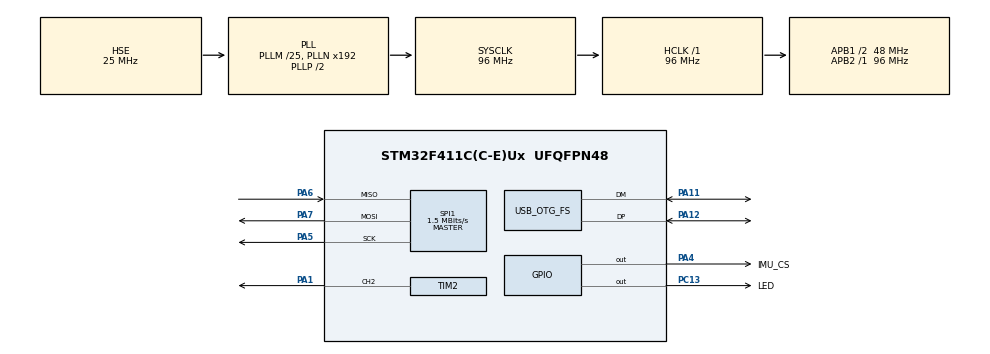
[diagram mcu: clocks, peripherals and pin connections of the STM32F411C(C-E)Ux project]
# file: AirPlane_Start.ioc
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Mcu.Family=STM32F4
Mcu.Name=STM32F411C(C-E)Ux
Mcu.Package=UFQFPN48
NVIC.OTG_FS_IRQn=true\:0\:0\:false\:false\:true\:false\:true\:true
NVIC.PriorityGroup=NVIC_PRIORITYGROUP_4
PA1.Signal=S_TIM2_CH2
PA11.Mode=Device_Only
PA11.Signal=USB_OTG_FS_DM
PA12.Mode=Device_Only
PA12.Signal=USB_OTG_FS_DP
PA4.GPIO_Label=IMU_CS
PA4.PinState=GPIO_PIN_SET
PA4.Signal=GPIO_Output
PA5.Mode=Full_Duplex_Master
PA5.Signal=SPI1_SCK
PA6.Mode=Full_Duplex_Master
PA6.Signal=SPI1_MISO
PA7.Mode=Full_Duplex_Master
PA7.Signal=SPI1_MOSI
PC13-ANTI_TAMP.GPIO_Label=LED
PC13-ANTI_TAMP.Signal=GPIO_Output
PH0\ -\ OSC_IN.Mode=HSE-External-Oscillator
PH0\ -\ OSC_IN.Signal=RCC_OSC_IN
PH1\ -\ OSC_OUT.Mode=HSE-External-Oscillator
PH1\ -\ OSC_OUT.Signal=RCC_OSC_OUT
ProjectManager.HeapSize=0x200
ProjectManager.StackSize=0x400
ProjectManager.TargetToolchain=STM32CubeIDE
RCC.48MHZClocksFreq_Value=48000000
RCC.AHBFreq_Value=96000000
RCC.APB1CLKDivider=RCC_HCLK_DIV2
RCC.APB1Freq_Value=48000000
RCC.APB1TimFreq_Value=96000000
RCC.APB2Freq_Value=96000000
RCC.APB2TimFreq_Value=96000000
RCC.CortexFreq_Value=96000000
RCC.HCLKFreq_Value=96000000
RCC.HSE_VALUE=25000000
RCC.HSI_VALUE=16000000
RCC.LSE_VALUE=32768
RCC.PLLM=25
RCC.SYSCLKFreq_VALUE=96000000
RCC.SYSCLKSource=RCC_SYSCLKSOURCE_PLLCLK
RCC.VCOOutputFreq_Value=192000000
SH.S_TIM2_CH2.0=TIM2_CH2,PWM Generation2 CH2
SPI1.BaudRatePrescaler=SPI_BAUDRATEPRESCALER_64
SPI1.CalculateBaudRate=1.5 MBits/s
SPI1.Direction=SPI_DIRECTION_2LINES
SPI1.Mode=SPI_MODE_MASTER
SPI1.VirtualType=VM_MASTER
TIM2.Channel-PWM\ Generation2\ CH2=TIM_CHANNEL_2
TIM2.Period=19999
TIM2.Prescaler=95
TIM2.Pulse-PWM\ Generation2\ CH2=1500
USB_DEVICE.CLASS_NAME_FS=CDC
USB_DEVICE.VirtualMode=Cdc
USB_DEVICE.VirtualModeFS=Cdc_FS
USB_OTG_FS.VirtualMode=Device_Only
VP_TIM2_VS_ClockSourceINT.Mode=Internal
VP_USB_DEVICE_VS_USB_DEVICE_CDC_FS.Mode=CDC_FS
board=custom

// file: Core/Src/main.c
/* USER CODE BEGIN Header */
/**
 ******************************************************************************
 * @file           : main.c
 * @brief          : Main program body
 ******************************************************************************
 * @attention
 *
 * Copyright (c) 2026 STMicroelectronics.
 * All rights reserved.
 *
 * This software is licensed under terms that can be found in the LICENSE file
 * in the root directory of this software component.
 * If no LICENSE file comes with this software, it is provided AS-IS.
 *
 ******************************************************************************
 */
/* USER CODE END Header */
#include "main.h"
#include "usb_device.h"

/* USER CODE BEGIN Includes */
#include <stdio.h>
#include "usbd_cdc_if.h"
/* USER CODE END Includes */

/* USER CODE BEGIN PD */
#define IMU_CS_LOW()      HAL_GPIO_WritePin(IMU_CS_GPIO_Port, IMU_CS_Pin, GPIO_PIN_RESET)
#define IMU_CS_HIGH()     HAL_GPIO_WritePin(IMU_CS_GPIO_Port, IMU_CS_Pin, GPIO_PIN_SET)

#define REG_DEVICE_CONFIG 0x11
#define REG_ACCEL_DATA_X1 0x1F
#define REG_PWR_MGMT0     0x4E
#define REG_WHO_AM_I      0x75
#define WHO_AM_I_VALUE    0x47
/* USER CODE END PD */

SPI_HandleTypeDef hspi1;

TIM_HandleTypeDef htim2;

/* USER CODE BEGIN PV */
static uint8_t imu_id = 0;
static uint8_t imu_ok = 0;
/* USER CODE END PV */

void SystemClock_Config(void);
static void MX_GPIO_Init(void);
static void MX_TIM2_Init(void);
static void MX_SPI1_Init(void);

/* USER CODE BEGIN 0 */
int _write(int fd, char *ptr, int len)   // makes printf() go to USB
{
	uint32_t start = HAL_GetTick();
	while (CDC_Transmit_FS((uint8_t*) ptr, len) == USBD_BUSY) {
		if (HAL_GetTick() - start > 10)
			return 0;
	}
	return len;
}

static uint8_t imu_read_reg(uint8_t reg) {
	uint8_t tx[2] = { reg | 0x80, 0x00 };   // bit 7 = 1 means read
	uint8_t rx[2] = { 0, 0 };
	IMU_CS_LOW();
	HAL_SPI_TransmitReceive(&hspi1, tx, rx, 2, 10);
	IMU_CS_HIGH();
	return rx[1];
}

static void imu_write_reg(uint8_t reg, uint8_t value) {
	uint8_t tx[2] = { reg & 0x7F, value };  // bit 7 = 0 means write
	IMU_CS_LOW();
	HAL_SPI_Transmit(&hspi1, tx, 2, 10);
	IMU_CS_HIGH();
}

static void imu_read_burst(uint8_t reg, uint8_t *buf, uint16_t len)
{
    uint8_t tx[13] = {0};
    uint8_t rx[13] = {0};

    if (len > 12) len = 12;          // <-- new: protects the buffers

    tx[0] = reg | 0x80;   // read command

    IMU_CS_LOW();
    HAL_SPI_TransmitReceive(&hspi1, tx, rx, len + 1, 100);
    IMU_CS_HIGH();

    for (uint16_t i = 0; i < len; i++)
    {
        buf[i] = rx[i + 1];
    }
}
static int16_t imu_read_axis(uint8_t reg_high)
{
    uint8_t b[2];
    imu_read_burst(reg_high, b, 2);
    return (int16_t)((b[0] << 8) | b[1]);
}
/* USER CODE END 0 */

int main(void)
{

  /* MCU Configuration--------------------------------------------------------*/

  /* Reset of all peripherals, Initializes the Flash interface and the Systick. */
  HAL_Init();

  /* Configure the system clock */
  SystemClock_Config();

  /* Initialize all configured peripherals */
  MX_GPIO_Init();
  MX_USB_DEVICE_Init();
  MX_TIM2_Init();
  MX_SPI1_Init();
  /* USER CODE BEGIN 2 */
	// HAL_TIM_PWM_Start(&htim2, TIM_CHANNEL_2);
	IMU_CS_HIGH();
	HAL_Delay(100);                          // let the IMU power up

	imu_id = imu_read_reg(REG_WHO_AM_I);
	if (imu_id == WHO_AM_I_VALUE) {
		imu_write_reg(REG_DEVICE_CONFIG, 0x01);  // soft reset
		HAL_Delay(10);
		imu_write_reg(REG_PWR_MGMT0, 0x0F);   // gyro + accel on, low-noise mode
		HAL_Delay(50);                           // wait for sensors to start
		imu_ok = 1;
	}
  /* USER CODE END 2 */

  /* Infinite loop */
  /* USER CODE BEGIN WHILE */
	while (1) {
		uint8_t who = imu_read_reg(REG_WHO_AM_I);

				int16_t ax = imu_read_axis(0x1F);
				int16_t ay = imu_read_axis(0x21);
				int16_t az = imu_read_axis(0x23);
				int16_t gx = imu_read_axis(0x25);
				int16_t gy = imu_read_axis(0x27);
				int16_t gz = imu_read_axis(0x29);

				printf("WHO=%02X | A(mg) %ld %ld %ld | G %d %d %d\r\n",
				       who,
				       (long)ax * 1000 / 2048, (long)ay * 1000 / 2048, (long)az * 1000 / 2048,
				       gx, gy, gz);

				HAL_Delay(200);
    /* USER CODE END WHILE */

	}
}

void SystemClock_Config(void)
{
  RCC_OscInitTypeDef RCC_OscInitStruct = {0};
  RCC_ClkInitTypeDef RCC_ClkInitStruct = {0};

  /** Configure the main internal regulator output voltage
  */
  __HAL_RCC_PWR_CLK_ENABLE();
  __HAL_PWR_VOLTAGESCALING_CONFIG(PWR_REGULATOR_VOLTAGE_SCALE1);

  /** Initializes the RCC Oscillators according to the specified parameters
  * in the RCC_OscInitTypeDef structure.
  */
  RCC_OscInitStruct.OscillatorType = RCC_OSCILLATORTYPE_HSE;
  RCC_OscInitStruct.HSEState = RCC_HSE_ON;
  RCC_OscInitStruct.PLL.PLLState = RCC_PLL_ON;
  RCC_OscInitStruct.PLL.PLLSource = RCC_PLLSOURCE_HSE;
  RCC_OscInitStruct.PLL.PLLM = 25;
  RCC_OscInitStruct.PLL.PLLN = 192;
  RCC_OscInitStruct.PLL.PLLP = RCC_PLLP_DIV2;
  RCC_OscInitStruct.PLL.PLLQ = 4;
  if (HAL_RCC_OscConfig(&RCC_OscInitStruct) != HAL_OK)
  {
    Error_Handler();
  }

  /** Initializes the CPU, AHB and APB buses clocks
  */
  RCC_ClkInitStruct.ClockType = RCC_CLOCKTYPE_HCLK|RCC_CLOCKTYPE_SYSCLK
                              |RCC_CLOCKTYPE_PCLK1|RCC_CLOCKTYPE_PCLK2;
  RCC_ClkInitStruct.SYSCLKSource = RCC_SYSCLKSOURCE_PLLCLK;
  RCC_ClkInitStruct.AHBCLKDivider = RCC_SYSCLK_DIV1;
  RCC_ClkInitStruct.APB1CLKDivider = RCC_HCLK_DIV2;
  RCC_ClkInitStruct.APB2CLKDivider = RCC_HCLK_DIV1;

  if (HAL_RCC_ClockConfig(&RCC_ClkInitStruct, FLASH_LATENCY_3) != HAL_OK)
  {
    Error_Handler();
  }
}

static void MX_SPI1_Init(void)
{

  /* SPI1 parameter configuration*/
  hspi1.Instance = SPI1;
  hspi1.Init.Mode = SPI_MODE_MASTER;
  hspi1.Init.Direction = SPI_DIRECTION_2LINES;
  hspi1.Init.DataSize = SPI_DATASIZE_8BIT;
  hspi1.Init.CLKPolarity = SPI_POLARITY_LOW;
  hspi1.Init.CLKPhase = SPI_PHASE_1EDGE;
  hspi1.Init.NSS = SPI_NSS_SOFT;
  hspi1.Init.BaudRatePrescaler = SPI_BAUDRATEPRESCALER_64;
  hspi1.Init.FirstBit = SPI_FIRSTBIT_MSB;
  hspi1.Init.TIMode = SPI_TIMODE_DISABLE;
  hspi1.Init.CRCCalculation = SPI_CRCCALCULATION_DISABLE;
  hspi1.Init.CRCPolynomial = 10;
  if (HAL_SPI_Init(&hspi1) != HAL_OK)
  {
    Error_Handler();
  }

}

static void MX_TIM2_Init(void)
{

  TIM_ClockConfigTypeDef sClockSourceConfig = {0};
  TIM_MasterConfigTypeDef sMasterConfig = {0};
  TIM_OC_InitTypeDef sConfigOC = {0};

  htim2.Instance = TIM2;
  htim2.Init.Prescaler = 95;
  htim2.Init.CounterMode = TIM_COUNTERMODE_UP;
  htim2.Init.Period = 19999;
  htim2.Init.ClockDivision = TIM_CLOCKDIVISION_DIV1;
  htim2.Init.AutoReloadPreload = TIM_AUTORELOAD_PRELOAD_DISABLE;
  if (HAL_TIM_Base_Init(&htim2) != HAL_OK)
  {
    Error_Handler();
  }
  sClockSourceConfig.ClockSource = TIM_CLOCKSOURCE_INTERNAL;
  if (HAL_TIM_ConfigClockSource(&htim2, &sClockSourceConfig) != HAL_OK)
  {
    Error_Handler();
  }
  if (HAL_TIM_PWM_Init(&htim2) != HAL_OK)
  {
    Error_Handler();
  }
  sMasterConfig.MasterOutputTrigger = TIM_TRGO_RESET;
  sMasterConfig.MasterSlaveMode = TIM_MASTERSLAVEMODE_DISABLE;
  if (HAL_TIMEx_MasterConfigSynchronization(&htim2, &sMasterConfig) != HAL_OK)
  {
    Error_Handler();
  }
  sConfigOC.OCMode = TIM_OCMODE_PWM1;
  sConfigOC.Pulse = 1500;
  sConfigOC.OCPolarity = TIM_OCPOLARITY_HIGH;
  sConfigOC.OCFastMode = TIM_OCFAST_DISABLE;
  if (HAL_TIM_PWM_ConfigChannel(&htim2, &sConfigOC, TIM_CHANNEL_2) != HAL_OK)
  {
    Error_Handler();
  }
  HAL_TIM_MspPostInit(&htim2);

}

static void MX_GPIO_Init(void)
{
  GPIO_InitTypeDef GPIO_InitStruct = {0};

  /* GPIO Ports Clock Enable */
  __HAL_RCC_GPIOC_CLK_ENABLE();
  __HAL_RCC_GPIOH_CLK_ENABLE();
  __HAL_RCC_GPIOA_CLK_ENABLE();

  /*Configure GPIO pin Output Level */
  HAL_GPIO_WritePin(LED_GPIO_Port, LED_Pin, GPIO_PIN_RESET);

  /*Configure GPIO pin Output Level */
  HAL_GPIO_WritePin(IMU_CS_GPIO_Port, IMU_CS_Pin, GPIO_PIN_SET);

  /*Configure GPIO pin : LED_Pin */
  GPIO_InitStruct.Pin = LED_Pin;
  GPIO_InitStruct.Mode = GPIO_MODE_OUTPUT_PP;
  GPIO_InitStruct.Pull = GPIO_NOPULL;
  GPIO_InitStruct.Speed = GPIO_SPEED_FREQ_LOW;
  HAL_GPIO_Init(LED_GPIO_Port, &GPIO_InitStruct);

  /*Configure GPIO pin : IMU_CS_Pin */
  GPIO_InitStruct.Pin = IMU_CS_Pin;
  GPIO_InitStruct.Mode = GPIO_MODE_OUTPUT_PP;
  GPIO_InitStruct.Pull = GPIO_NOPULL;
  GPIO_InitStruct.Speed = GPIO_SPEED_FREQ_LOW;
  HAL_GPIO_Init(IMU_CS_GPIO_Port, &GPIO_InitStruct);

}

void Error_Handler(void)
{
	__disable_irq();
	while (1) {
	}
}
